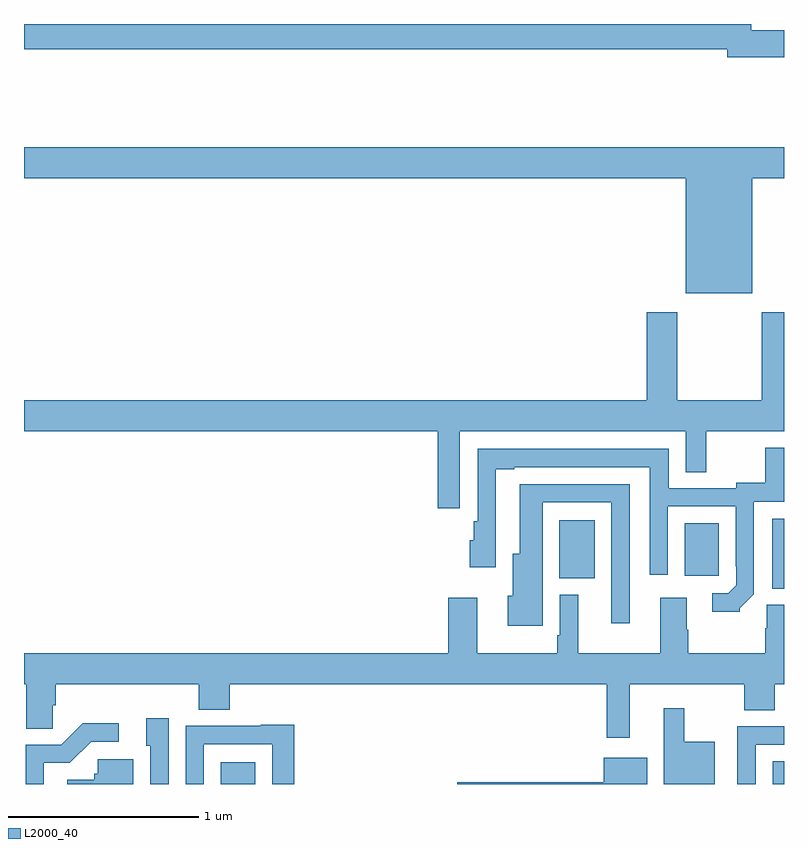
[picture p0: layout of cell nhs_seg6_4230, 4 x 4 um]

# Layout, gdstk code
import gdstk
lib = gdstk.Library(unit=1e-6, precision=1e-09)
def R(c, l, rs):  # rectangles x0, y0, x1, y1
    for r in rs: c.add(gdstk.rectangle(r[:2], r[2:], *l))
def P(c, l, *ps):  # polygons
    for p in ps: c.add(gdstk.Polygon(p, *l))
L2000_40 = (2000, 40)

nhs_seg6_4230 = lib.new_cell('nhs_seg6_4230')
R(nhs_seg6_4230, L2000_40, [(362.036,925.5,362.218,925.615), (364.94,925.5,365,925.621), (364.937,926.528,365,926.896), (363.818,926.582,364.003,926.887), (364.478,926.595,364.657,926.872)])
P(nhs_seg6_4230, L2000_40, [(365,929.468),(364.828,929.468),(364.828,929.5),(361,929.5),(361,929.368),(364.7,929.368),(364.7,929.326),(365,929.326)],
  [(364.834,928.688),(365,928.688),(365,928.852),(361,928.852),(361,928.688),(364.484,928.688),(364.484,928.082),(364.834,928.082)],
  [(363.294,927.356),(364.482,927.356),(364.482,927.142),(364.591,927.142),(364.591,927.356),(365,927.356),(365,927.982),(364.882,927.982),(364.882,927.52),(364.437,927.52),(364.437,927.982),(364.277,927.982),(364.277,927.52),(361,927.52),(361,927.356),(363.178,927.356),(363.178,926.952),(363.294,926.952)],
  [(364.767,926.424),(364.842,926.499),(364.842,926.985),(365,926.985),(365,927.271),(364.9,927.271),(364.9,927.086),(364.749,927.086),(364.749,927.057),(364.393,927.057),(364.393,927.264),(363.387,927.264),(363.387,926.884),(363.367,926.884),(363.367,926.784),(363.347,926.784),(363.347,926.64),(363.483,926.64),(363.483,927.156),(363.58,927.156),(363.58,927.168),(364.293,927.168),(364.293,926.601),(364.389,926.601),(364.389,926.961),(364.746,926.961),(364.746,926.647),(364.749,926.647),(364.749,926.547),(364.707,926.505),(364.623,926.505),(364.623,926.407),(364.767,926.407)],
  [(363.73,926.982),(364.092,926.982),(364.092,926.346),(364.188,926.346),(364.188,927.078),(363.608,927.078),(363.608,926.713),(363.572,926.713),(363.572,926.49),(363.545,926.49),(363.545,926.333),(363.73,926.333)],
  [(364.189,926.024),(364.792,926.024),(364.792,925.888),(364.952,925.888),(364.952,926.024),(365,926.024),(365,926.443),(364.908,926.443),(364.908,926.321),(364.9,926.321),(364.9,926.188),(364.497,926.188),(364.497,926.312),(364.489,926.312),(364.489,926.479),(364.349,926.479),(364.349,926.188),(363.916,926.188),(363.916,926.497),(363.819,926.497),(363.819,926.284),(363.807,926.284),(363.807,926.188),(363.385,926.188),(363.385,926.479),(363.233,926.479),(363.233,926.188),(361,926.188),(361,926.024),(361.013,926.024),(361.013,925.792),(361.152,925.792),(361.152,925.915),(361.166,925.915),(361.166,926.024),(361.919,926.024),(361.919,925.891),(362.084,925.891),(362.084,926.024),(364.068,926.024),(364.068,925.743),(364.189,925.743)],
  [(364.636,925.723),(364.474,925.723),(364.474,925.9),(364.367,925.9),(364.367,925.5),(364.636,925.5)],
  [(361.761,925.846),(361.643,925.846),(361.643,925.701),(361.665,925.701),(361.665,925.5),(361.761,925.5)],
  [(361.104,925.611),(361.242,925.611),(361.353,925.722),(361.498,925.722),(361.498,925.82),(361.31,925.82),(361.197,925.707),(361.008,925.707),(361.008,925.5),(361.104,925.5)],
  [(361.947,925.71),(362.307,925.71),(362.307,925.5),(362.423,925.5),(362.423,925.813),(362.247,925.813),(362.247,925.806),(361.851,925.806),(361.851,925.5),(361.947,925.5)],
  [(364.851,925.707),(365,925.707),(365,925.803),(364.755,925.803),(364.755,925.5),(364.851,925.5)],
  [(364.279,925.639),(364.052,925.639),(364.052,925.508),(363.28,925.508),(363.28,925.5),(364.279,925.5)],
  [(361.576,925.629),(361.389,925.629),(361.389,925.554),(361.37,925.554),(361.37,925.522),(361.227,925.522),(361.227,925.5),(361.576,925.5)])

lib.write_gds('nhs_seg6_4230.gds')
